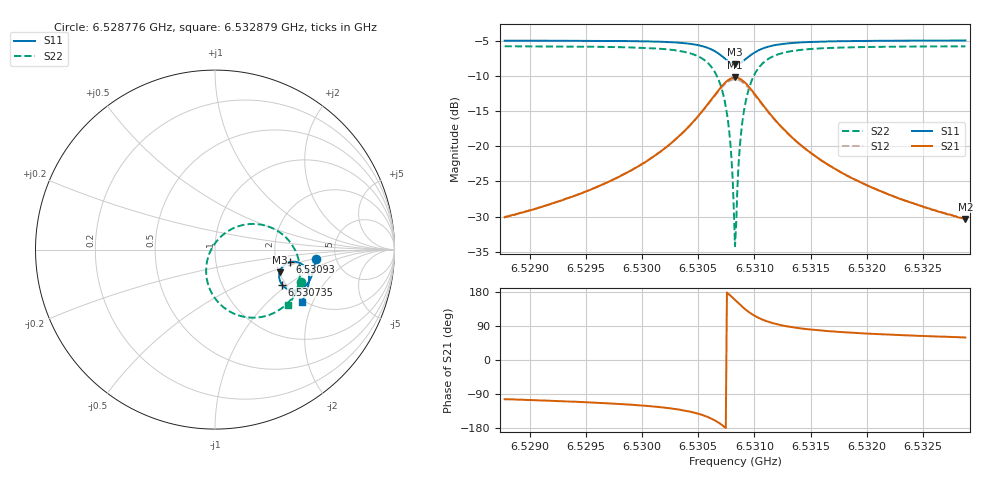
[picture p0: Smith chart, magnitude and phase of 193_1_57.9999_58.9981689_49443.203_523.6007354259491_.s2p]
#  HZ  S  RI  R  50.00
! Rohde & Schwarz Vector Network Analyzer
! Rohde-Schwarz,ZNB20-2Port,1311601062101988,3.16
! Created: UTC 3/21/2024, 12:58:55 AM
! freq[Hz]  re:S11  im:S11  re:S21  im:S21  re:S12  im:S12  re:S22  im:S22
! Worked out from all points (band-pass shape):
!   401 points, 6.528776 GHz to 6.532879 GHz, reference 50 ohm
!   highest |S21| = -10.23 dB at 6.530828 GHz (marker M1); lowest = -30.4 dB at 6.532879 GHz (marker M2)
!   |S21| within 3 dB of the highest: 6.530623 GHz to 6.531034 GHz (410.9 kHz wide, 0.00629 % of centre)
!   lowest |S11| = -8.4 dB at 6.530828 GHz (marker M3), VSWR 2.23, Z = 101 - j29.6 ohm
!   |S11| at or under -10 dB: nowhere
!   |S22| runs from -34.2 to -5.8 dB; largest |S21 - S12| = 0.012
!   S11 on the Smith chart (normalised r, x): 6.528776 GHz: 3.49, -0.51; 6.530735 GHz: 1.91, -0.91; 6.53093 GHz: 2.37, -0.41; 6.532879 GHz: 1.92, -1.66
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6.5287763e9  0.5604 -0.0502  -0.00729 -0.0304  -0.00787 -0.0303  0.4816 -0.1781
6.5294634e9  0.5511 -0.1075  -0.0166 -0.0434  -0.0176 -0.0431  0.4497 -0.2412
6.5301506e9  0.5241 -0.1769  -0.0503 -0.0744  -0.0526 -0.0729  0.3669 -0.3301
6.5303865e9  0.4975 -0.2072  -0.0902 -0.094  -0.0932 -0.0908  0.2855 -0.3692
6.5305609e9  0.454 -0.2271  -0.1587 -0.1006  -0.1611 -0.094  0.1591 -0.374
6.5306634e9  0.4088 -0.2224  -0.2286 -0.0741  -0.2277 -0.0644  0.0419 -0.3165
6.5307352e9  0.3734 -0.1954  -0.2801 -0.0153  -0.2743 -0.0052  -0.0337 -0.2079
6.5307763e9  0.36 -0.1676  -0.2961 0.0378  -0.2869 0.046  -0.0496 -0.1167
6.5307865e9  0.3583 -0.1594  -0.2971 0.0526  -0.2873 0.0602  -0.0482 -0.0922
6.5308173e9  0.3585 -0.134  -0.2913 0.0985  -0.2803 0.1032  -0.0299 -0.0183
6.5308276e9  0.3604 -0.1256  -0.2863 0.1134  -0.2752 0.1171  -0.0188 0.0051
6.5308378e9  0.3632 -0.1174  -0.2799 0.1276  -0.2687 0.1304  -0.00561 0.027
6.5308481e9  0.3669 -0.1095  -0.2721 0.1413  -0.2611 0.1429  0.00979 0.0477
6.5308686e9  0.3763 -0.0956  -0.253 0.1654  -0.2426 0.1653  0.0454 0.0835
6.5308891e9  0.3882 -0.0842  -0.2305 0.1847  -0.2212 0.1832  0.086 0.1109
6.5309301e9  0.4152 -0.0703  -0.1816 0.2079  -0.1746 0.2049  0.1711 0.1398
6.5310019e9  0.4583 -0.0696  -0.1061 0.2102  -0.1025 0.2071  0.2979 0.1283
6.5311045e9  0.4963 -0.0914  -0.0408 0.1792  -0.0391 0.1775  0.4027 0.0599
6.5312583e9  0.5185 -0.1273  -0.00148 0.1325  -0.000145 0.132  0.4599 -0.0358
6.5315147e9  0.5242 -0.1707  0.0154 0.0868  0.0165 0.0863  0.4734 -0.1334
6.5322019e9  0.5072 -0.2423  0.0176 0.0415  0.0184 0.0413  0.4441 -0.2494
6.5328788e9  0.4821 -0.2937  0.0155 0.0261  0.0161 0.0259  0.409 -0.3093
